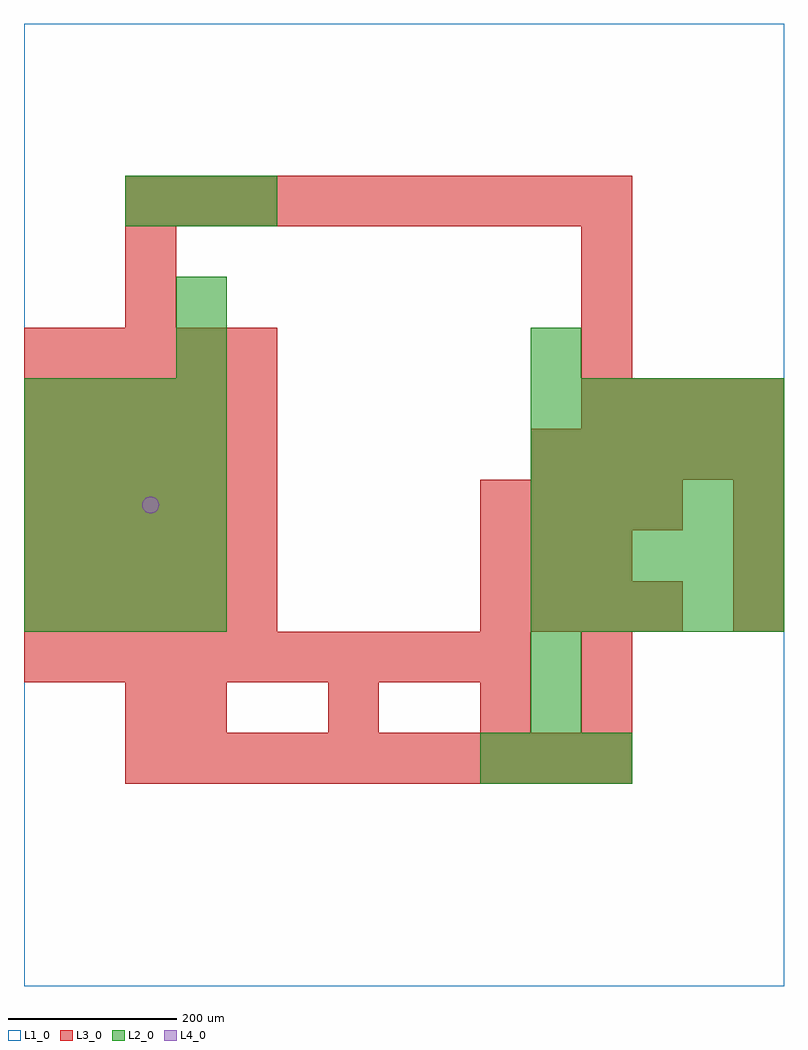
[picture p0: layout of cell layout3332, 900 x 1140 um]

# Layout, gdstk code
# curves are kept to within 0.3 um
import gdstk
lib = gdstk.Library(unit=1e-6, precision=1e-09)
def R(c, l, rs):  # rectangles x0, y0, x1, y1
    for r in rs: c.add(gdstk.rectangle(r[:2], r[2:], *l))
def A(c, l, x, y, w, h, nx, ny, dx, dy):  # array of equal rectangles
    R(c, l, [(x+i*dx, y+j*dy, x+i*dx+w, y+j*dy+h) for i in range(nx) for j in range(ny)])
def P(c, l, *ps):  # polygons
    for p in ps: c.add(gdstk.Polygon(p, *l))
L1_0 = (1, 0)
L2_0 = (2, 0)
L3_0 = (3, 0)
L4_0 = (4, 0)

layout3332 = lib.new_cell('layout3332')
R(layout3332, L1_0, [(0,0,900,1140)])
A(layout3332, L2_0, 540, 240, 60, 60, 3, 1, 60, 0)
A(layout3332, L2_0, 0, 420, 60, 60, 4, 5, 60, 60)
A(layout3332, L2_0, 600, 420, 60, 60, 5, 5, 60, 60)
A(layout3332, L2_0, 120, 900, 60, 60, 3, 1, 60, 0)
R(layout3332, L2_0, [(600,300,660,360), (600,360,660,420), (180,720,240,780), (600,720,660,780), (180,780,240,840)])
A(layout3332, L3_0, 120, 240, 60, 60, 10, 2, 60, 660)
A(layout3332, L3_0, 180, 300, 60, 60, 3, 1, 180, 0)
A(layout3332, L3_0, 0, 360, 60, 60, 10, 1, 60, 0)
A(layout3332, L3_0, 0, 420, 60, 60, 5, 6, 60, 60)
A(layout3332, L3_0, 540, 420, 60, 60, 4, 2, 60, 120)
A(layout3332, L3_0, 840, 420, 60, 60, 1, 3, 0, 60)
A(layout3332, L3_0, 540, 480, 60, 60, 3, 1, 60, 0)
A(layout3332, L3_0, 600, 600, 60, 60, 5, 1, 60, 0)
A(layout3332, L3_0, 660, 660, 60, 60, 4, 1, 60, 0)
A(layout3332, L3_0, 660, 720, 60, 60, 1, 3, 0, 60)
R(layout3332, L3_0, [(120,300,180,360), (660,300,720,360), (660,360,720,420), (120,780,180,840), (120,840,180,900)])
P(layout3332, L4_0, [(160,570),(159.239,573.827),(157.071,577.071),(153.827,579.239),(150,580),(146.173,579.239),(142.929,577.071),(140.761,573.827),(140,570),(140.761,566.173),(142.929,562.929),(146.173,560.761),(150,560),(153.827,560.761),(157.071,562.929),(159.239,566.173)])

lib.write_gds('layout3332.gds')
